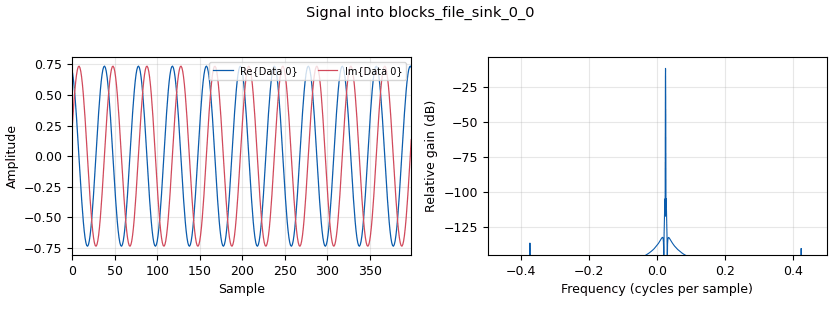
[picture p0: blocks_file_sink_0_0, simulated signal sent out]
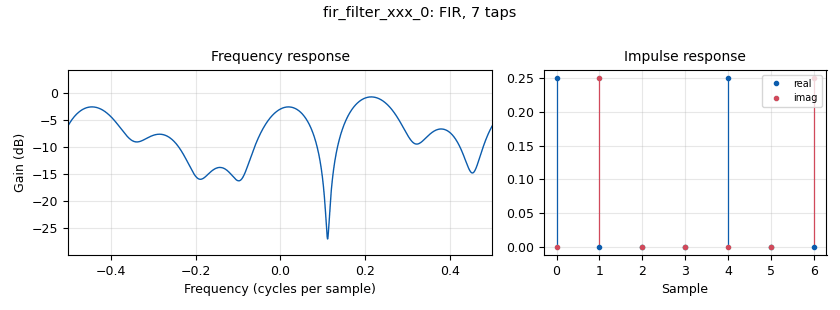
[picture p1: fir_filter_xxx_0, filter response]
options:
  parameters:
    generate_options: qt_gui
    id: fir_test
    output_language: python
    title: 'RFNoC: Fir Test'
  states: {}

blocks:
- name: uhd_rfnoc_graph_0
  id: uhd_rfnoc_graph
  parameters:
    dev_addr: addr=10.10.23.2
  states: {}
- name: analog_noise_source_x_0
  id: analog_noise_source_x
  parameters:
    amp: '1'
    noise_type: analog.GR_GAUSSIAN
    seed: '0'
    type: complex
  states: {state: disabled}
- name: analog_sig_source_x_0
  id: analog_sig_source_x
  parameters:
    amp: '1'
    freq: 5e6
    offset: '0'
    phase: '0'
    samp_rate: 200e6
    type: complex
    waveform: analog.GR_COS_WAVE
  states: {}
- name: blocks_file_sink_0
  id: blocks_file_sink
  parameters:
    file: /home/danny/tmp/fpgaout
    type: complex
  states: {}
- name: blocks_file_sink_0_0
  id: blocks_file_sink
  parameters:
    file: /home/danny/tmp/cpuout
    type: complex
  states: {}
- name: blocks_throttle_0
  id: blocks_throttle
  parameters:
    samples_per_second: 1e6
    type: complex
  states: {}
- name: fir_filter_xxx_0
  id: fir_filter_xxx
  parameters:
    decim: '1'
    taps: '[0.25,0+0.25j,0,0,0.25,0,0+0.25j]'
    type: ccc
  states: {}
- name: qtgui_time_sink_x_0_0
  id: qtgui_time_sink_x
  parameters:
    autoscale: 'True'
    nconnections: '2'
    size: '1024'
    srate: 5e9
    type: complex
  states: {}
- name: uhd_rfnoc_addcomplexmult_0
  id: uhd_rfnoc_addcomplexmult
  parameters:
    block_args: ''
    device_select: '-1'
    instance_index: '0'
    num_chans: '1'
  states: {}
- name: uhd_rfnoc_fir_0
  id: uhd_rfnoc_fir
  parameters:
    block_args: ''
    coeffs: '[32767//4, 0, 0, 0, 32767//4, 0, 0, 0, 0, 0, 0, 0, 0, 0, 0, 0, 0, 0, 0, 0, 0, 0, 0, 0, 0, 0, 0, 0, 0, 0, 0, 0, 0, 0, 0, 0, 0, 0, 0, 0, 0]'
    device_select: '-1'
    instance_index: '0'
    num_chans: '1'
  states: {}
- name: uhd_rfnoc_fir_1
  id: uhd_rfnoc_fir
  parameters:
    block_args: ''
    coeffs: '[0, 32767//4, 0, 0, 0, 0, 32767//4, 0, 0, 0, 0, 0, 0, 0, 0, 0, 0, 0, 0, 0, 0, 0, 0, 0, 0, 0, 0, 0, 0, 0, 0, 0, 0, 0, 0, 0, 0, 0, 0, 0, 0]'
    device_select: '-1'
    instance_index: '1'
    num_chans: '1'
  states: {}
- name: uhd_rfnoc_rx_streamer_0
  id: uhd_rfnoc_rx_streamer
  parameters:
    otw: sc16
    output_type: fc32
  states: {}
- name: uhd_rfnoc_splitstream_0
  id: uhd_rfnoc_splitstream
  parameters:
    block_args: ''
    device_select: '-1'
    instance_index: '0'
    num_chans: '1'
  states: {}
- name: uhd_rfnoc_tx_streamer_0
  id: uhd_rfnoc_tx_streamer
  parameters:
    input_type: fc32
    otw: sc16
  states: {}

connections:
- [analog_noise_source_x_0, '0', blocks_throttle_0, '0']
- [analog_sig_source_x_0, '0', blocks_throttle_0, '0']
- [blocks_throttle_0, '0', fir_filter_xxx_0, '0']
- [blocks_throttle_0, '0', uhd_rfnoc_tx_streamer_0, '0']
- [fir_filter_xxx_0, '0', blocks_file_sink_0_0, '0']
- [fir_filter_xxx_0, '0', qtgui_time_sink_x_0_0, '0']
- [uhd_rfnoc_addcomplexmult_0, '0', uhd_rfnoc_rx_streamer_0, '0']
- [uhd_rfnoc_fir_0, '0', uhd_rfnoc_addcomplexmult_0, '0']
- [uhd_rfnoc_fir_1, '0', uhd_rfnoc_addcomplexmult_0, '1']
- [uhd_rfnoc_rx_streamer_0, '0', blocks_file_sink_0, '0']
- [uhd_rfnoc_rx_streamer_0, '0', qtgui_time_sink_x_0_0, '1']
- [uhd_rfnoc_splitstream_0, '0', uhd_rfnoc_fir_0, '0']
- [uhd_rfnoc_splitstream_0, '1', uhd_rfnoc_fir_1, '0']
- [uhd_rfnoc_tx_streamer_0, '0', uhd_rfnoc_splitstream_0, '0']

metadata:
  file_format: 1
  grc_version: v3.9.6.0-5-g797c819d
